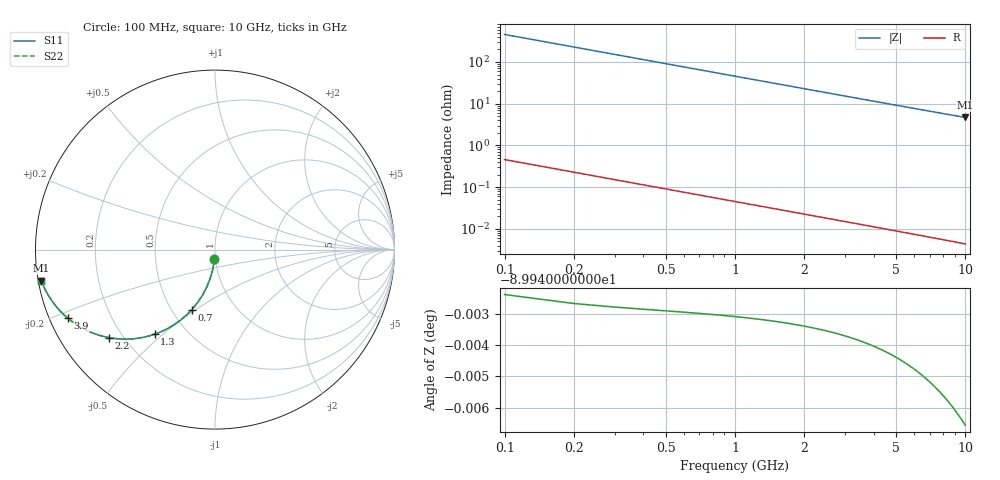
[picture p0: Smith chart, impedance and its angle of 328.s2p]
# Hz S RI R 50.00
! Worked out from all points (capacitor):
!   100 points, 100 MHz to 10 GHz, reference 50 ohm
!   read as one part in shunt: C = 3.49 pF near 100 MHz
!   lowest |Z| = 4.68 ohm at 10 GHz (marker M1)
!   S11 on the Smith chart (normalised r, x): 100 MHz: 0.99, -0.11; 700 MHz: 0.63, -0.48; 1.3 GHz: 0.33, -0.47; 2.2 GHz: 0.15, -0.35; 3.9 GHz: 0.05, -0.22; 10 GHz: 0.01, -0.09
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1e8  -0.00304 -0.0546  0.9969 -0.0547  0.9969 -0.0547  -0.00304 -0.0546
2e8  -0.012 -0.1082  0.988 -0.1083  0.988 -0.1083  -0.012 -0.1082
3e8  -0.0264 -0.1599  0.9735 -0.1601  0.9735 -0.1601  -0.0264 -0.1599
4e8  -0.046 -0.2089  0.954 -0.2091  0.954 -0.2091  -0.046 -0.2089
5e8  -0.07 -0.2545  0.93 -0.2548  0.93 -0.2548  -0.07 -0.2545
6e8  -0.0977 -0.2962  0.9023 -0.2966  0.9023 -0.2966  -0.0977 -0.2962
7e8  -0.1284 -0.3338  0.8716 -0.3343  0.8716 -0.3343  -0.1284 -0.3338
8e8  -0.1613 -0.367  0.8387 -0.3676  0.8387 -0.3676  -0.1613 -0.367
1e9  -0.2309 -0.4205  0.7691 -0.4213  0.7691 -0.4213  -0.2309 -0.4205
1.3e9  -0.3363 -0.4715  0.6637 -0.4724  0.6637 -0.4724  -0.3363 -0.4715
1.5e9  -0.4026 -0.4894  0.5974 -0.4905  0.5974 -0.4905  -0.4026 -0.4894
1.8e9  -0.4922 -0.4988  0.5077 -0.5001  0.5077 -0.5001  -0.4922 -0.4988
2.2e9  -0.5912 -0.4903  0.4088 -0.4919  0.4088 -0.4919  -0.5912 -0.4903
2.5e9  -0.651 -0.4752  0.3489 -0.4771  0.3489 -0.4771  -0.651 -0.4752
2.8e9  -0.7004 -0.4565  0.2996 -0.4586  0.2996 -0.4586  -0.7004 -0.4565
3.4e9  -0.7748 -0.4159  0.2252 -0.4185  0.2252 -0.4185  -0.7748 -0.4159
3.9e9  -0.8189 -0.3832  0.1811 -0.3861  0.1811 -0.3861  -0.8189 -0.3832
4.5e9  -0.8573 -0.3475  0.1426 -0.3509  0.1426 -0.3509  -0.8573 -0.3475
5.1e9  -0.8852 -0.3164  0.1148 -0.3202  0.1148 -0.3202  -0.8852 -0.3164
6.7e9  -0.9299 -0.2522  0.0701 -0.2573  0.0701 -0.2573  -0.9299 -0.2522
8.4e9  -0.9542 -0.2053  0.0458 -0.2118  0.0458 -0.2118  -0.9542 -0.2053
1e10  -0.9672 -0.1736  0.0327 -0.1813  0.0327 -0.1813  -0.9672 -0.1736
